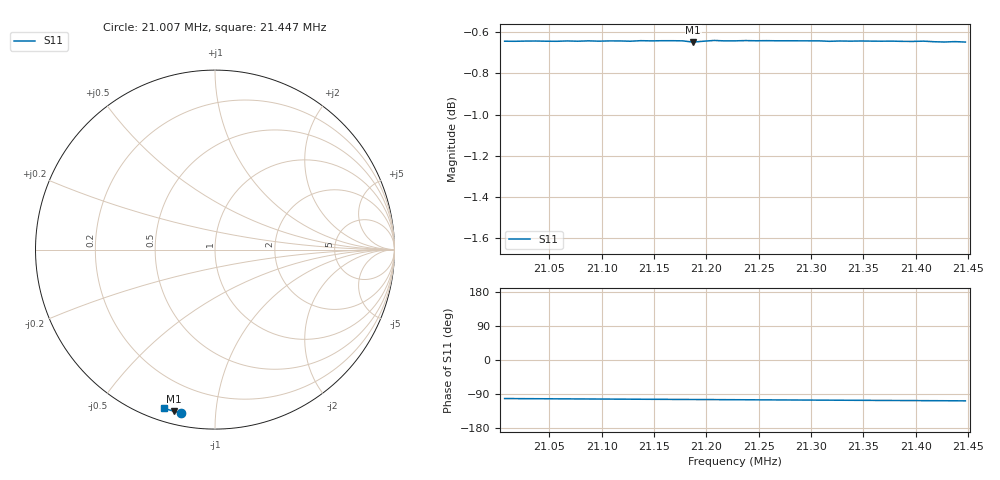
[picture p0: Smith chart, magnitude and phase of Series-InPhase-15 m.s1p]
# HZ S RI R 50
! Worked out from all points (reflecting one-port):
!   45 points, 21.007 MHz to 21.447 MHz, reference 50 ohm
!   lowest |S11| = -0.6 dB at 21.187 MHz (marker M1), VSWR 26.84, Z = 2.99 - j38.8 ohm
!   phase of S11 starts at -102 deg and turns -6 deg over the sweep
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2.10072e7  -0.1891 -0.9092
2.103721e7  -0.1958 -0.9079
2.105722e7  -0.2003 -0.9067
2.106722e7  -0.2025 -0.9064
2.107723e7  -0.2047 -0.9058
2.108723e7  -0.2069 -0.9055
2.109724e7  -0.209 -0.9048
2.111724e7  -0.2135 -0.9039
2.112725e7  -0.2156 -0.9032
2.113725e7  -0.2179 -0.903
2.117727e7  -0.2266 -0.9008
2.118727e7  -0.2284 -0.8996
2.120728e7  -0.2327 -0.8994
2.121728e7  -0.2348 -0.8986
2.122729e7  -0.237 -0.8981
2.123729e7  -0.2392 -0.8976
2.128731e7  -0.2498 -0.8946
2.130732e7  -0.2541 -0.8934
2.131732e7  -0.2562 -0.8925
2.132733e7  -0.2583 -0.8921
2.133733e7  -0.2605 -0.8914
2.134734e7  -0.2626 -0.8909
2.137735e7  -0.2689 -0.8889
2.139736e7  -0.2731 -0.8875
2.140736e7  -0.2752 -0.8869
2.142737e7  -0.2793 -0.8852
2.143737e7  -0.2814 -0.8847
2.144738e7  -0.2833 -0.8839
